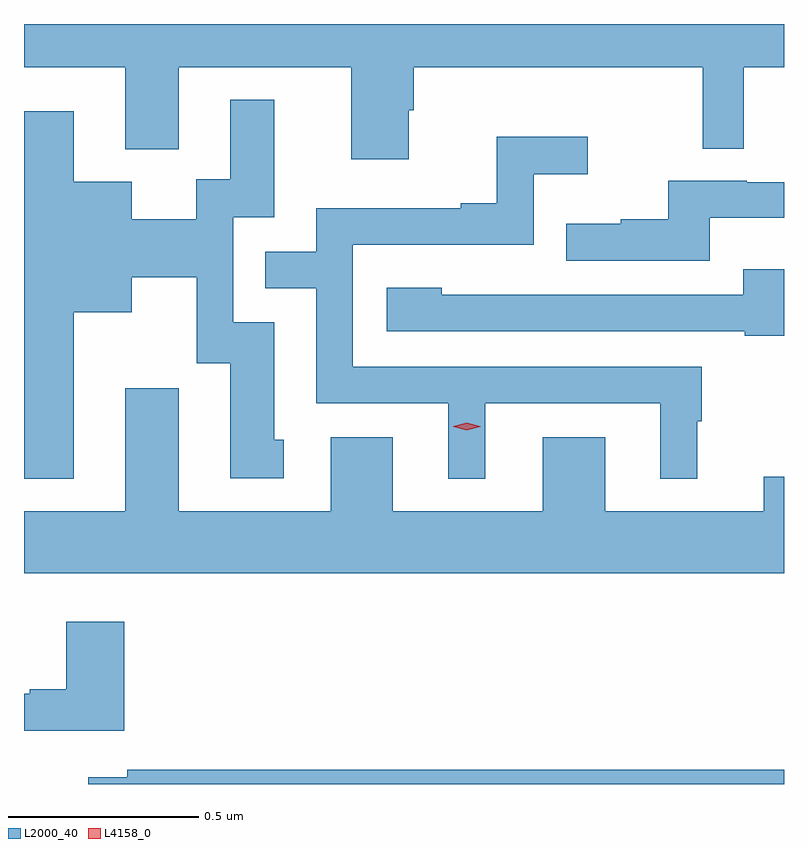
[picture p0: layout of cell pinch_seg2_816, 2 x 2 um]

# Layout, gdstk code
import gdstk
lib = gdstk.Library(unit=1e-6, precision=1e-09)
def P(c, l, *ps):  # polygons
    for p in ps: c.add(gdstk.Polygon(p, *l))
L2000_40 = (2000, 40)
L4158_0 = (4158, 0)

pinch_seg2_816 = lib.new_cell('pinch_seg2_816')
P(pinch_seg2_816, L2000_40, [(699.35,614.336),(699.617,614.336),(699.617,614.12),(699.757,614.12),(699.757,614.336),(700.211,614.336),(700.211,614.094),(700.363,614.094),(700.363,614.223),(700.376,614.223),(700.376,614.336),(701.136,614.336),(701.136,614.122),(701.244,614.122),(701.244,614.336),(701.35,614.336),(701.35,614.45),(699.35,614.45)],
  [(699.481,613.691),(699.634,613.691),(699.634,613.784),(699.804,613.784),(699.804,613.557),(699.893,613.557),(699.893,613.254),(700.033,613.254),(700.033,613.356),(700.009,613.356),(700.009,613.665),(699.9,613.665),(699.9,613.941),(700.009,613.941),(700.009,614.251),(699.893,614.251),(699.893,614.042),(699.803,614.042),(699.803,613.936),(699.634,613.936),(699.634,614.035),(699.481,614.035),(699.481,614.221),(699.35,614.221),(699.35,613.253),(699.481,613.253)],
  [(700.564,613.452),(701.024,613.452),(701.024,613.253),(701.122,613.253),(701.122,613.404),(701.134,613.404),(701.134,613.548),(700.215,613.548),(700.215,613.869),(700.692,613.869),(700.692,614.054),(700.834,614.054),(700.834,614.153),(700.594,614.153),(700.594,613.978),(700.499,613.978),(700.499,613.965),(700.119,613.965),(700.119,613.851),(699.985,613.851),(699.985,613.755),(700.119,613.755),(700.119,613.452),(700.466,613.452),(700.466,613.253),(700.564,613.253)],
  [(701.155,613.94),(701.35,613.94),(701.35,614.034),(701.252,614.034),(701.252,614.037),(701.045,614.037),(701.045,613.936),(700.921,613.936),(700.921,613.924),(700.777,613.924),(700.777,613.827),(701.155,613.827)],
  [(701.35,613.804),(701.243,613.804),(701.243,613.737),(700.685,613.737),(700.685,613.738),(700.449,613.738),(700.449,613.756),(700.305,613.756),(700.305,613.641),(701.247,613.641),(701.247,613.629),(701.35,613.629)],
  [(701.35,613.259),(701.297,613.259),(701.297,613.168),(700.879,613.168),(700.879,613.363),(700.715,613.363),(700.715,613.168),(700.321,613.168),(700.321,613.363),(700.157,613.363),(700.157,613.168),(699.757,613.168),(699.757,613.492),(699.617,613.492),(699.617,613.168),(699.35,613.168),(699.35,613.004),(701.35,613.004)],
  [(699.614,612.877),(699.461,612.877),(699.461,612.7),(699.365,612.7),(699.365,612.687),(699.35,612.687),(699.35,612.59),(699.614,612.59)],
  [(701.35,612.488),(699.622,612.488),(699.622,612.468),(699.519,612.468),(699.519,612.45),(701.35,612.45)])
P(pinch_seg2_816, L4158_0, [(700.515,613.381),(700.48,613.39),(700.479,613.391),(700.48,613.391),(700.515,613.401),(700.55,613.391),(700.551,613.391),(700.55,613.39)])

lib.write_gds('pinch_seg2_816.gds')
